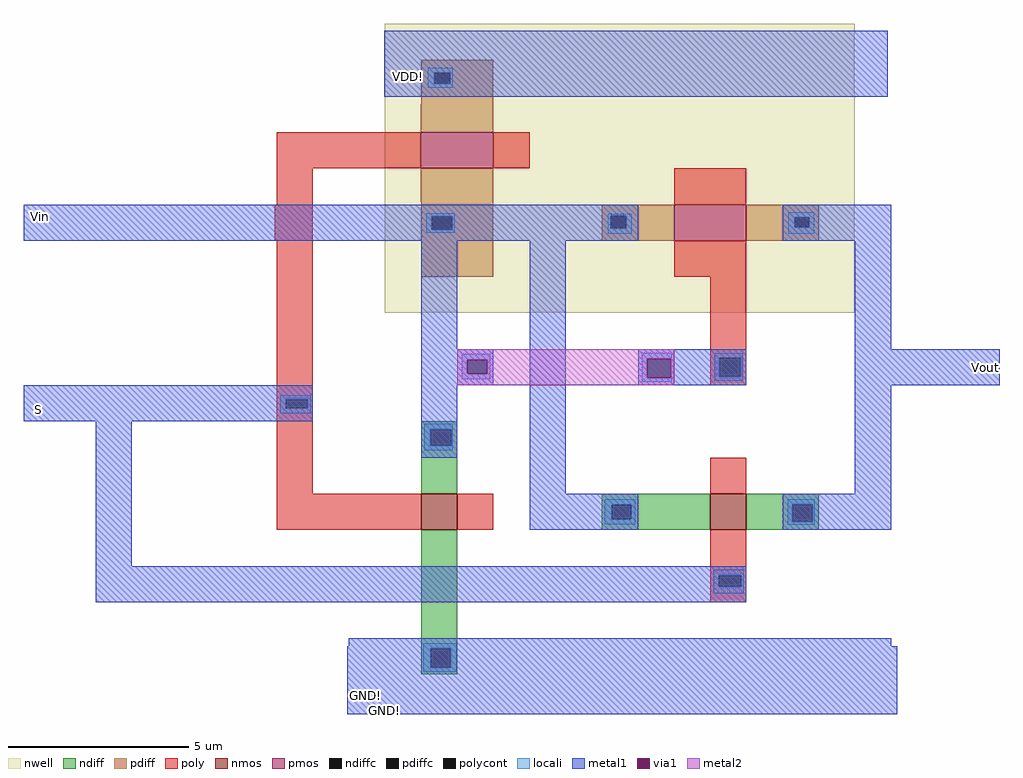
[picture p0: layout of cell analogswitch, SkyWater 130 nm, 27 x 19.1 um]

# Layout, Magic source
magic
tech sky130A
<< nwell >>
rect -1600 0 -300 800
<< nmos >>
rect -1500 -600 -1400 -500
rect -700 -600 -600 -500
<< pmos >>
rect -1501 400 -1300 500
rect -800 200 -600 300
<< ndiff >>
rect -1500 -322 -1400 -300
rect -1500 -368 -1475 -322
rect -1417 -368 -1400 -322
rect -1500 -500 -1400 -368
rect -1000 -531 -700 -500
rect -1000 -571 -972 -531
rect -919 -571 -700 -531
rect -1000 -600 -700 -571
rect -600 -529 -400 -500
rect -600 -578 -474 -529
rect -417 -578 -400 -529
rect -600 -600 -400 -578
rect -1500 -927 -1400 -600
rect -1500 -981 -1474 -927
rect -1418 -981 -1400 -927
rect -1500 -1000 -1400 -981
<< pdiff >>
rect -1500 664 -1300 700
rect -1500 634 -1464 664
rect -1420 634 -1300 664
rect -1500 577 -1300 634
rect -1501 500 -1300 577
rect -1501 306 -1300 400
rect -1500 267 -1300 306
rect -1500 230 -1470 267
rect -1414 230 -1300 267
rect -1500 100 -1300 230
rect -1000 269 -800 300
rect -1000 235 -975 269
rect -932 235 -800 269
rect -1000 200 -800 235
rect -600 265 -400 300
rect -600 237 -467 265
rect -426 237 -400 265
rect -600 200 -400 237
<< ndiffc >>
rect -1475 -368 -1417 -322
rect -972 -571 -919 -531
rect -474 -578 -417 -529
rect -1474 -981 -1418 -927
<< pdiffc >>
rect -1464 634 -1420 664
rect -1470 230 -1414 267
rect -975 235 -932 269
rect -467 237 -426 265
<< poly >>
rect -1900 400 -1501 500
rect -1300 400 -1200 500
rect -1900 298 -1800 400
rect -1905 200 -1800 298
rect -1900 -238 -1800 200
rect -800 300 -600 400
rect -800 100 -600 200
rect -700 -124 -600 100
rect -700 -177 -675 -124
rect -616 -177 -600 -124
rect -700 -200 -600 -177
rect -1900 -263 -1874 -238
rect -1814 -263 -1800 -238
rect -1900 -500 -1800 -263
rect -700 -500 -600 -400
rect -1900 -600 -1500 -500
rect -1400 -600 -1300 -500
rect -700 -725 -600 -600
rect -700 -758 -676 -725
rect -614 -758 -600 -725
rect -700 -800 -600 -758
<< polycont >>
rect -675 -177 -616 -124
rect -1874 -263 -1814 -238
rect -676 -758 -614 -725
<< locali >>
rect -1481 664 -1412 679
rect -1481 634 -1464 664
rect -1420 634 -1412 664
rect -1481 623 -1412 634
rect -1486 267 -1407 276
rect -1486 230 -1470 267
rect -1414 230 -1407 267
rect -1486 222 -1407 230
rect -984 269 -917 274
rect -984 235 -975 269
rect -932 235 -917 269
rect -984 219 -917 235
rect -485 265 -413 278
rect -485 237 -467 265
rect -426 237 -413 265
rect -485 219 -413 237
rect -1388 -183 -1309 -113
rect -890 -190 -807 -110
rect -688 -124 -610 -112
rect -688 -177 -675 -124
rect -616 -177 -610 -124
rect -688 -187 -610 -177
rect -1890 -238 -1806 -227
rect -1890 -263 -1874 -238
rect -1814 -263 -1806 -238
rect -1890 -277 -1806 -263
rect -1492 -322 -1413 -307
rect -1492 -368 -1475 -322
rect -1417 -368 -1413 -322
rect -1492 -380 -1413 -368
rect -992 -531 -907 -516
rect -992 -571 -972 -531
rect -919 -571 -907 -531
rect -992 -584 -907 -571
rect -486 -529 -411 -515
rect -486 -578 -474 -529
rect -417 -578 -411 -529
rect -486 -586 -411 -578
rect -691 -725 -608 -711
rect -691 -758 -676 -725
rect -614 -758 -608 -725
rect -691 -776 -608 -758
rect -1494 -927 -1401 -913
rect -1494 -981 -1474 -927
rect -1418 -981 -1401 -927
rect -1494 -993 -1401 -981
<< metal1 >>
rect -1602 598 -209 781
rect -2600 200 -900 300
rect -500 200 -200 300
rect -1500 -100 -1400 200
rect -1500 -129 -1300 -100
rect -1500 -168 -1372 -129
rect -1317 -168 -1300 -129
rect -1500 -200 -1300 -168
rect -2600 -300 -1800 -200
rect -2400 -700 -2300 -300
rect -1500 -400 -1400 -200
rect -1200 -500 -1100 200
rect -300 -100 -200 200
rect -900 -127 -600 -100
rect -900 -179 -874 -127
rect -810 -179 -600 -127
rect -900 -200 -600 -179
rect -300 -200 100 -100
rect -300 -500 -200 -200
rect -1200 -600 -900 -500
rect -500 -600 -200 -500
rect -2400 -800 -600 -700
rect -1700 -922 -200 -900
rect -1704 -1110 -183 -922
<< via1 >>
rect -1372 -168 -1317 -129
rect -874 -179 -810 -127
<< metal2 >>
rect -1400 -127 -800 -100
rect -1400 -129 -874 -127
rect -1400 -168 -1372 -129
rect -1317 -168 -874 -129
rect -1400 -179 -874 -168
rect -810 -179 -800 -127
rect -1400 -200 -800 -179
<< labels >>
rlabel metal1 -1536 654 -1536 654 1 VDD!
rlabel metal1 -1600 -1100 -1600 -1100 5 GND!
rlabel metal1 -1655 -1058 -1655 -1058 5 GND!
rlabel metal1 -2554 266 -2554 266 5 Vin
rlabel metal1 -2558 -268 -2558 -268 5 S
rlabel metal1 61 -151 61 -151 5 Vout
<< end >>
